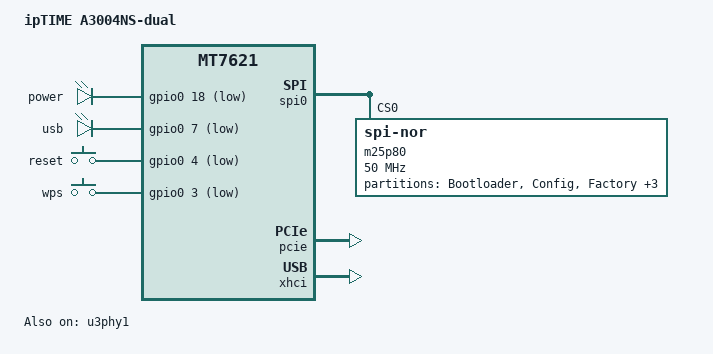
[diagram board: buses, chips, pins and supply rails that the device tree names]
/dts-v1/;

#include "mt7621.dtsi"
#include <dt-bindings/input/input.h>
#include "mt7621-raeth-gmac2.dtsi"
#include "mt7621-pinctrl-default-gpio.dtsi"

/ {
	compatible = "iptime,a3004ns-dual", "mediatek,mt7621-soc";
	model = "ipTIME A3004NS-dual";

	chosen {
		bootargs = "console=ttyS0,57600";
	};

	leds {
		compatible = "gpio-leds";

		power {
			label = "power";
			gpios = <&gpio0 18 GPIO_ACTIVE_LOW>;
		};

		usb {
			label = "usb";
			gpios = <&gpio0 7 GPIO_ACTIVE_LOW>;
		};
	};

	gpio-keys-polled {
		compatible = "gpio-keys-polled";
		#address-cells = <1>;
		#size-cells = <0>;
		poll-interval = <20>;

		reset {
			label = "reset";
			gpios = <&gpio0 4 GPIO_ACTIVE_LOW>;
			linux,code = <KEY_RESTART>;
		};

		wps {
			label = "wps";
			gpios = <&gpio0 3 GPIO_ACTIVE_LOW>;
			linux,code = <KEY_WPS_BUTTON>;
		};
	};
};

&spi0 {
	status = "okay";

	m25p80@0 {
		#address-cells = <1>;
		#size-cells = <1>;
		compatible = "jedec,spi-nor";
		reg = <0>;
		spi-max-frequency = <50000000>;
		m25p,fast-read;

		partition@0 {
			label = "Bootloader";
			reg = <0x00000 0x20000>;
		};

		partition@20000 {
			label = "Config";
			reg = <0x20000 0x10000>;
		};

		partition@30000 {
			label = "Factory";
			reg = <0x30000 0x10000>;
		};

		partition@40000 {
			label = "firmware";
			reg = <0x40000 0xf80000>;
		};

		partition@fc0000 {
			label = "Storage";
			reg = <0xfc0000 0x40000>;
		};

		partition@all {
			label = "ALL";
			reg = <0x0 0x1000000>;
		};
	};
};

&pcie {
	status = "okay";
};

&xhci {
	status = "okay";
};

&u3phy1 {
	status = "okay";
};
